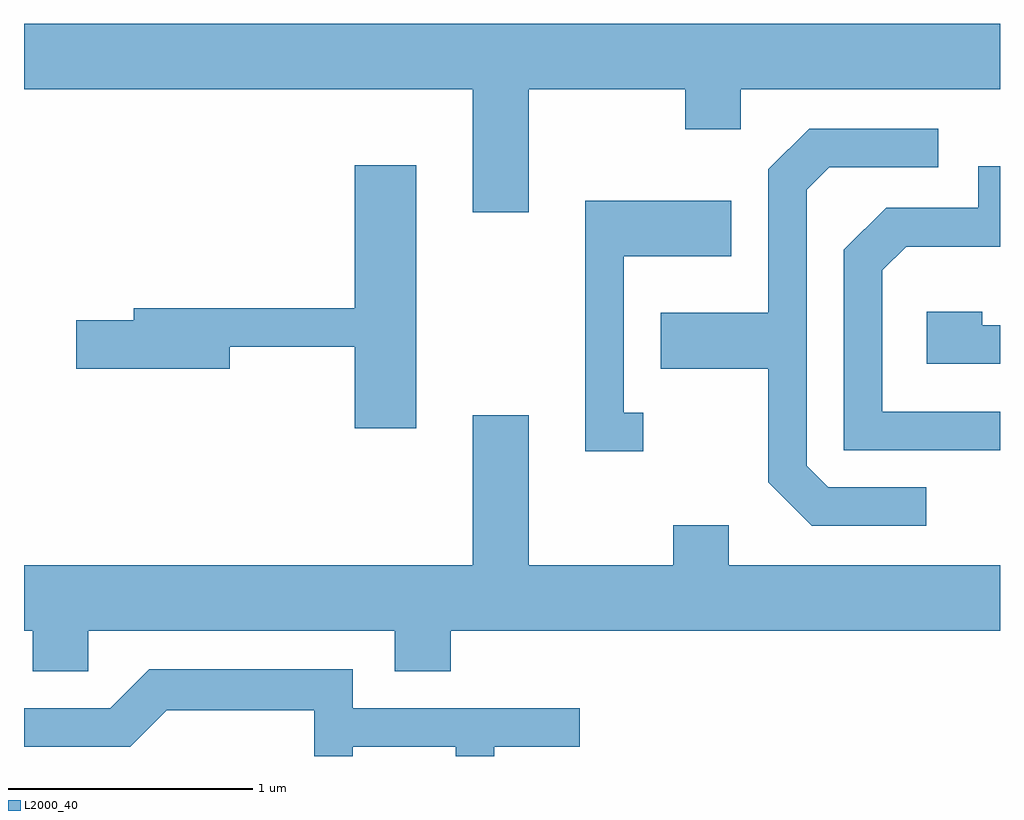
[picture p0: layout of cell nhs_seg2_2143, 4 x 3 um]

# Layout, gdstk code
import gdstk
lib = gdstk.Library(unit=1e-6, precision=1e-09)
def P(c, l, *ps):  # polygons
    for p in ps: c.add(gdstk.Polygon(p, *l))
L2000_40 = (2000, 40)

nhs_seg2_2143 = lib.new_cell('nhs_seg2_2143')
P(nhs_seg2_2143, L2000_40, [(249.679,1050.536),(250.321,1050.536),(250.321,1050.371),(250.549,1050.371),(250.549,1050.536),(251.611,1050.536),(251.611,1050.804),(247.611,1050.804),(247.611,1050.536),(249.451,1050.536),(249.451,1050.031),(249.679,1050.031)],
  [(251.308,1048.904),(250.907,1048.904),(250.819,1048.992),(250.819,1050.124),(250.912,1050.216),(251.358,1050.216),(251.358,1050.374),(250.829,1050.374),(250.661,1050.207),(250.661,1049.619),(250.221,1049.619),(250.221,1049.391),(250.661,1049.391),(250.661,1048.924),(250.839,1048.746),(251.308,1048.746)],
  [(249.219,1050.224),(248.966,1050.224),(248.966,1049.639),(248.061,1049.639),(248.061,1049.589),(247.826,1049.589),(247.826,1049.391),(248.454,1049.391),(248.454,1049.481),(248.966,1049.481),(248.966,1049.146),(249.219,1049.146)],
  [(251.611,1049.214),(251.129,1049.214),(251.129,1049.794),(251.227,1049.891),(251.611,1049.891),(251.611,1050.219),(251.521,1050.219),(251.521,1050.049),(251.144,1050.049),(250.971,1049.877),(250.971,1049.056),(251.611,1049.056)],
  [(250.148,1049.209),(250.069,1049.209),(250.069,1049.851),(250.509,1049.851),(250.509,1050.079),(249.911,1050.079),(249.911,1049.051),(250.148,1049.051)],
  [(251.611,1049.569),(251.539,1049.569),(251.539,1049.624),(251.311,1049.624),(251.311,1049.411),(251.611,1049.411)],
  [(247.874,1048.316),(249.131,1048.316),(249.131,1048.151),(249.359,1048.151),(249.359,1048.316),(251.611,1048.316),(251.611,1048.584),(250.499,1048.584),(250.499,1048.749),(250.271,1048.749),(250.271,1048.584),(249.679,1048.584),(249.679,1049.199),(249.451,1049.199),(249.451,1048.584),(247.611,1048.584),(247.611,1048.316),(247.646,1048.316),(247.646,1048.151),(247.874,1048.151)],
  [(248.959,1047.841),(249.381,1047.841),(249.381,1047.802),(249.539,1047.802),(249.539,1047.841),(249.888,1047.841),(249.888,1047.999),(248.959,1047.999),(248.959,1048.159),(248.124,1048.159),(247.964,1047.999),(247.611,1047.999),(247.611,1047.841),(248.047,1047.841),(248.197,1047.991),(248.801,1047.991),(248.801,1047.802),(248.959,1047.802)])

lib.write_gds('nhs_seg2_2143.gds')
